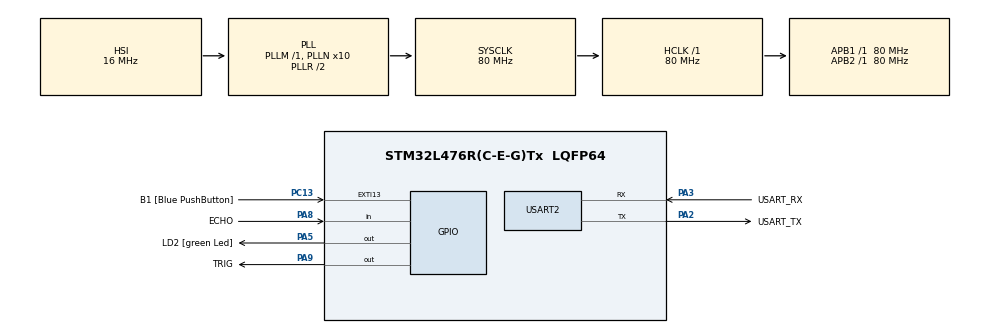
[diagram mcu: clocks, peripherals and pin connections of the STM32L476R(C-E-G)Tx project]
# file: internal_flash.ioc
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Mcu.Family=STM32L4
Mcu.Name=STM32L476R(C-E-G)Tx
Mcu.Package=LQFP64
NVIC.PriorityGroup=NVIC_PRIORITYGROUP_4
PA13\ (JTMS-SWDIO).GPIO_Label=TMS
PA13\ (JTMS-SWDIO).Mode=Serial_Wire
PA13\ (JTMS-SWDIO).Signal=SYS_JTMS-SWDIO
PA14\ (JTCK-SWCLK).GPIO_Label=TCK
PA14\ (JTCK-SWCLK).Mode=Serial_Wire
PA14\ (JTCK-SWCLK).Signal=SYS_JTCK-SWCLK
PA2.GPIO_Label=USART_TX
PA2.GPIO_Mode=GPIO_MODE_AF_PP
PA2.GPIO_PuPd=GPIO_NOPULL
PA2.GPIO_Speed=GPIO_SPEED_FREQ_VERY_HIGH
PA2.Mode=Asynchronous
PA2.Signal=USART2_TX
PA3.GPIO_Label=USART_RX
PA3.GPIO_Mode=GPIO_MODE_AF_PP
PA3.GPIO_PuPd=GPIO_NOPULL
PA3.GPIO_Speed=GPIO_SPEED_FREQ_VERY_HIGH
PA3.Mode=Asynchronous
PA3.Signal=USART2_RX
PA5.GPIO_Label=LD2 [green Led]
PA5.GPIO_ModeDefaultOutputPP=GPIO_MODE_OUTPUT_PP
PA5.GPIO_PuPd=GPIO_NOPULL
PA5.GPIO_Speed=GPIO_SPEED_FREQ_LOW
PA5.Signal=GPIO_Output
PA8.GPIO_Label=ECHO
PA8.Signal=GPIO_Input
PA9.GPIO_Label=TRIG
PA9.Signal=GPIO_Output
PB3\ (JTDO-TRACESWO).GPIO_Label=SWO
PB3\ (JTDO-TRACESWO).Signal=SYS_JTDO-SWO
PC13.GPIO_Label=B1 [Blue PushButton]
PC13.GPIO_ModeDefaultEXTI=GPIO_MODE_IT_FALLING
PC13.GPIO_PuPd=GPIO_NOPULL
PC13.Signal=GPXTI13
PC14-OSC32_IN\ (PC14).Mode=LSE-External-Oscillator
PC14-OSC32_IN\ (PC14).Signal=RCC_OSC32_IN
PC15-OSC32_OUT\ (PC15).Mode=LSE-External-Oscillator
PC15-OSC32_OUT\ (PC15).Signal=RCC_OSC32_OUT
PH0-OSC_IN\ (PH0).Signal=RCC_OSC_IN
PH1-OSC_OUT\ (PH1).Signal=RCC_OSC_OUT
ProjectManager.HeapSize=0x200
ProjectManager.StackSize=0x400
ProjectManager.TargetToolchain=STM32CubeIDE
RCC.ADCFreq_Value=64000000
RCC.AHBFreq_Value=80000000
RCC.APB1Freq_Value=80000000
RCC.APB1TimFreq_Value=80000000
RCC.APB2Freq_Value=80000000
RCC.APB2TimFreq_Value=80000000
RCC.CortexFreq_Value=80000000
RCC.HCLKFreq_Value=80000000
RCC.HSE_VALUE=8000000
RCC.HSI_VALUE=16000000
RCC.MSI_VALUE=4000000
RCC.PLLN=10
RCC.PLLSourceVirtual=RCC_PLLSOURCE_HSI
RCC.PREFETCH_ENABLE=1
RCC.SYSCLKFreq_VALUE=80000000
RCC.SYSCLKSource=RCC_SYSCLKSOURCE_PLLCLK
RCC.USBFreq_Value=64000000
RCC.VCOOutputFreq_Value=160000000
TIM1.Prescaler=79
USART2.VirtualMode-Asynchronous=VM_ASYNC
VP_TIM1_VS_ClockSourceINT.Mode=Internal
board=NUCLEO-L476RG

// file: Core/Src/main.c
/* USER CODE BEGIN Header */
/**
  ******************************************************************************
  * @file           : main.c
  * @brief          : Main program body
  ******************************************************************************
  */
/* USER CODE END Header */

#include "main.h"
#include "string.h"
#include "stdio.h"

/* USER CODE BEGIN PD */
#define FLASH_USER_START_ADDR   0x0807F800
#define FLASH_PAGE_NUMBER       255
/* USER CODE END PD */

TIM_HandleTypeDef htim1;
UART_HandleTypeDef huart2;

void SystemClock_Config(void);
static void MX_GPIO_Init(void);
static void MX_USART2_UART_Init(void);
static void MX_TIM1_Init(void);

/* USER CODE BEGIN 0 */

// Microsecond delay — timer must already be running
// Simple us delay — does NOT reset counter globally
void delay_us(uint16_t us) {
    uint32_t start = __HAL_TIM_GET_COUNTER(&htim1);
    while ((__HAL_TIM_GET_COUNTER(&htim1) - start) < us);
}

float get_distance_cm(void) {
    uint32_t t_start, t_stop;
    uint32_t timeout_start;

    // Send 10us TRIG pulse
    HAL_GPIO_WritePin(TRIG_GPIO_Port, TRIG_Pin, GPIO_PIN_SET);
    delay_us(10);
    HAL_GPIO_WritePin(TRIG_GPIO_Port, TRIG_Pin, GPIO_PIN_RESET);

    // Wait for ECHO HIGH — timeout 30ms
    timeout_start = __HAL_TIM_GET_COUNTER(&htim1);
    while (HAL_GPIO_ReadPin(ECHO_GPIO_Port, ECHO_Pin) == GPIO_PIN_RESET) {
        if ((__HAL_TIM_GET_COUNTER(&htim1) - timeout_start) > 30000)
            return 0.0f;
    }

    // Record start time
    t_start = __HAL_TIM_GET_COUNTER(&htim1);

    // Wait for ECHO LOW — timeout 30ms
    while (HAL_GPIO_ReadPin(ECHO_GPIO_Port, ECHO_Pin) == GPIO_PIN_SET) {
        if ((__HAL_TIM_GET_COUNTER(&htim1) - t_start) > 30000)
            return 0.0f;
    }

    // Record stop time
    t_stop = __HAL_TIM_GET_COUNTER(&htim1);

    // Calculate pulse width (handles timer overflow too)
    uint32_t pulse_us = t_stop - t_start;

    return (pulse_us * 0.034f) / 2.0f;
}
// Write 64-bit value to internal flash
HAL_StatusTypeDef Flash_Write(uint32_t address, uint64_t data) {
    HAL_StatusTypeDef status;
    FLASH_EraseInitTypeDef eraseInit;
    uint32_t pageError;
    char dbg[64];

    __disable_irq();
    HAL_FLASH_Unlock();

    eraseInit.TypeErase = FLASH_TYPEERASE_PAGES;
    eraseInit.Banks     = FLASH_BANK_1;   // 0x0807F800 is in Bank 1
    eraseInit.Page      = FLASH_PAGE_NUMBER;
    eraseInit.NbPages   = 1;

    status = HAL_FLASHEx_Erase(&eraseInit, &pageError);
    if (status != HAL_OK) {
        snprintf(dbg, sizeof(dbg), "Erase failed! 0x%08lX\r\n", pageError);
        HAL_UART_Transmit(&huart2, (uint8_t*)dbg, strlen(dbg), HAL_MAX_DELAY);
        HAL_FLASH_Lock();
        __enable_irq();
        return HAL_ERROR;
    }

    status = HAL_FLASH_Program(FLASH_TYPEPROGRAM_DOUBLEWORD, address, data);
    if (status != HAL_OK) {
        snprintf(dbg, sizeof(dbg), "Program failed! err=%d\r\n", status);
        HAL_UART_Transmit(&huart2, (uint8_t*)dbg, strlen(dbg), HAL_MAX_DELAY);
    }

    HAL_FLASH_Lock();
    __enable_irq();
    return status;
}

// Read 64-bit value from flash
uint64_t Flash_Read(uint32_t address) {
    return *(__IO uint64_t*)address;
}

/* USER CODE END 0 */

int main(void)
{
    HAL_Init();
    SystemClock_Config();
    MX_GPIO_Init();
    MX_USART2_UART_Init();
    MX_TIM1_Init();

    /* USER CODE BEGIN 2 */
    char msg[64];

    // Start timer ONCE here — keep it running always
    HAL_TIM_Base_Start(&htim1);

    // Small startup delay
    HAL_Delay(500);
    HAL_UART_Transmit(&huart2, (uint8_t*)"System Ready!\r\n", 15, HAL_MAX_DELAY);
    /* USER CODE END 2 */

    while (1)
    {
        /* USER CODE BEGIN WHILE */

        // Step 1: Get distance from sensor
        float distance = get_distance_cm();

        // Step 2: Convert float to uint64 for flash storage
        uint64_t flash_data = 0;
        memcpy(&flash_data, &distance, sizeof(float));

        // Step 3: Write to internal flash
        HAL_StatusTypeDef result = Flash_Write(FLASH_USER_START_ADDR, flash_data);

        // Step 4: Read back from flash
        uint64_t read_raw = Flash_Read(FLASH_USER_START_ADDR);
        float read_distance = 0.0f;
        memcpy(&read_distance, &read_raw, sizeof(float));

        // Step 5: Send result over UART
        if (result == HAL_OK) {
            snprintf(msg, sizeof(msg),
                     "Written: %.2f cm | Read back: %.2f cm\r\n",
                     distance, read_distance);
        } else {
            snprintf(msg, sizeof(msg), "Flash write FAILED!\r\n");
        }

        HAL_UART_Transmit(&huart2, (uint8_t*)msg, strlen(msg), HAL_MAX_DELAY);
        HAL_Delay(2000);

        /* USER CODE END WHILE */
    }
}

void SystemClock_Config(void)
{
    RCC_OscInitTypeDef RCC_OscInitStruct = {0};
    RCC_ClkInitTypeDef RCC_ClkInitStruct = {0};

    if (HAL_PWREx_ControlVoltageScaling(PWR_REGULATOR_VOLTAGE_SCALE1) != HAL_OK)
        Error_Handler();

    RCC_OscInitStruct.OscillatorType      = RCC_OSCILLATORTYPE_HSI;
    RCC_OscInitStruct.HSIState            = RCC_HSI_ON;
    RCC_OscInitStruct.HSICalibrationValue = RCC_HSICALIBRATION_DEFAULT;
    RCC_OscInitStruct.PLL.PLLState        = RCC_PLL_ON;
    RCC_OscInitStruct.PLL.PLLSource       = RCC_PLLSOURCE_HSI;
    RCC_OscInitStruct.PLL.PLLM            = 1;
    RCC_OscInitStruct.PLL.PLLN            = 10;
    RCC_OscInitStruct.PLL.PLLP            = RCC_PLLP_DIV7;
    RCC_OscInitStruct.PLL.PLLQ            = RCC_PLLQ_DIV2;
    RCC_OscInitStruct.PLL.PLLR            = RCC_PLLR_DIV2;
    if (HAL_RCC_OscConfig(&RCC_OscInitStruct) != HAL_OK)
        Error_Handler();

    RCC_ClkInitStruct.ClockType      = RCC_CLOCKTYPE_HCLK | RCC_CLOCKTYPE_SYSCLK
                                     | RCC_CLOCKTYPE_PCLK1 | RCC_CLOCKTYPE_PCLK2;
    RCC_ClkInitStruct.SYSCLKSource   = RCC_SYSCLKSOURCE_PLLCLK;
    RCC_ClkInitStruct.AHBCLKDivider  = RCC_SYSCLK_DIV1;
    RCC_ClkInitStruct.APB1CLKDivider = RCC_HCLK_DIV1;
    RCC_ClkInitStruct.APB2CLKDivider = RCC_HCLK_DIV1;
    if (HAL_RCC_ClockConfig(&RCC_ClkInitStruct, FLASH_LATENCY_4) != HAL_OK)
        Error_Handler();
}

static void MX_TIM1_Init(void)
{
    TIM_ClockConfigTypeDef sClockSourceConfig = {0};
    TIM_MasterConfigTypeDef sMasterConfig = {0};

    htim1.Instance               = TIM1;
    htim1.Init.Prescaler         = 79;   // 80MHz / (79+1) = 1MHz = 1us per tick
    htim1.Init.CounterMode       = TIM_COUNTERMODE_UP;
    htim1.Init.Period            = 65535;
    htim1.Init.ClockDivision     = TIM_CLOCKDIVISION_DIV1;
    htim1.Init.RepetitionCounter = 0;
    htim1.Init.AutoReloadPreload = TIM_AUTORELOAD_PRELOAD_DISABLE;
    if (HAL_TIM_Base_Init(&htim1) != HAL_OK)
        Error_Handler();

    sClockSourceConfig.ClockSource = TIM_CLOCKSOURCE_INTERNAL;
    if (HAL_TIM_ConfigClockSource(&htim1, &sClockSourceConfig) != HAL_OK)
        Error_Handler();

    sMasterConfig.MasterOutputTrigger  = TIM_TRGO_RESET;
    sMasterConfig.MasterOutputTrigger2 = TIM_TRGO2_RESET;
    sMasterConfig.MasterSlaveMode      = TIM_MASTERSLAVEMODE_DISABLE;
    if (HAL_TIMEx_MasterConfigSynchronization(&htim1, &sMasterConfig) != HAL_OK)
        Error_Handler();
}

static void MX_USART2_UART_Init(void)
{
    huart2.Instance                    = USART2;
    huart2.Init.BaudRate               = 115200;
    huart2.Init.WordLength             = UART_WORDLENGTH_8B;
    huart2.Init.StopBits               = UART_STOPBITS_1;
    huart2.Init.Parity                 = UART_PARITY_NONE;
    huart2.Init.Mode                   = UART_MODE_TX_RX;
    huart2.Init.HwFlowCtl              = UART_HWCONTROL_NONE;
    huart2.Init.OverSampling           = UART_OVERSAMPLING_16;
    huart2.Init.OneBitSampling         = UART_ONE_BIT_SAMPLE_DISABLE;
    huart2.AdvancedInit.AdvFeatureInit = UART_ADVFEATURE_NO_INIT;
    if (HAL_UART_Init(&huart2) != HAL_OK)
        Error_Handler();
}

static void MX_GPIO_Init(void)
{
    GPIO_InitTypeDef GPIO_InitStruct = {0};

    __HAL_RCC_GPIOC_CLK_ENABLE();
    __HAL_RCC_GPIOH_CLK_ENABLE();
    __HAL_RCC_GPIOA_CLK_ENABLE();
    __HAL_RCC_GPIOB_CLK_ENABLE();

    HAL_GPIO_WritePin(GPIOA, LD2_Pin | TRIG_Pin, GPIO_PIN_RESET);

    GPIO_InitStruct.Pin  = B1_Pin;
    GPIO_InitStruct.Mode = GPIO_MODE_IT_FALLING;
    GPIO_InitStruct.Pull = GPIO_NOPULL;
    HAL_GPIO_Init(B1_GPIO_Port, &GPIO_InitStruct);

    GPIO_InitStruct.Pin   = LD2_Pin | TRIG_Pin;
    GPIO_InitStruct.Mode  = GPIO_MODE_OUTPUT_PP;
    GPIO_InitStruct.Pull  = GPIO_NOPULL;
    GPIO_InitStruct.Speed = GPIO_SPEED_FREQ_LOW;
    HAL_GPIO_Init(GPIOA, &GPIO_InitStruct);

    GPIO_InitStruct.Pin  = ECHO_Pin;
    GPIO_InitStruct.Mode = GPIO_MODE_INPUT;
    GPIO_InitStruct.Pull = GPIO_NOPULL;
    HAL_GPIO_Init(ECHO_GPIO_Port, &GPIO_InitStruct);
}

void Error_Handler(void)
{
    __disable_irq();
    while (1) {}
}
